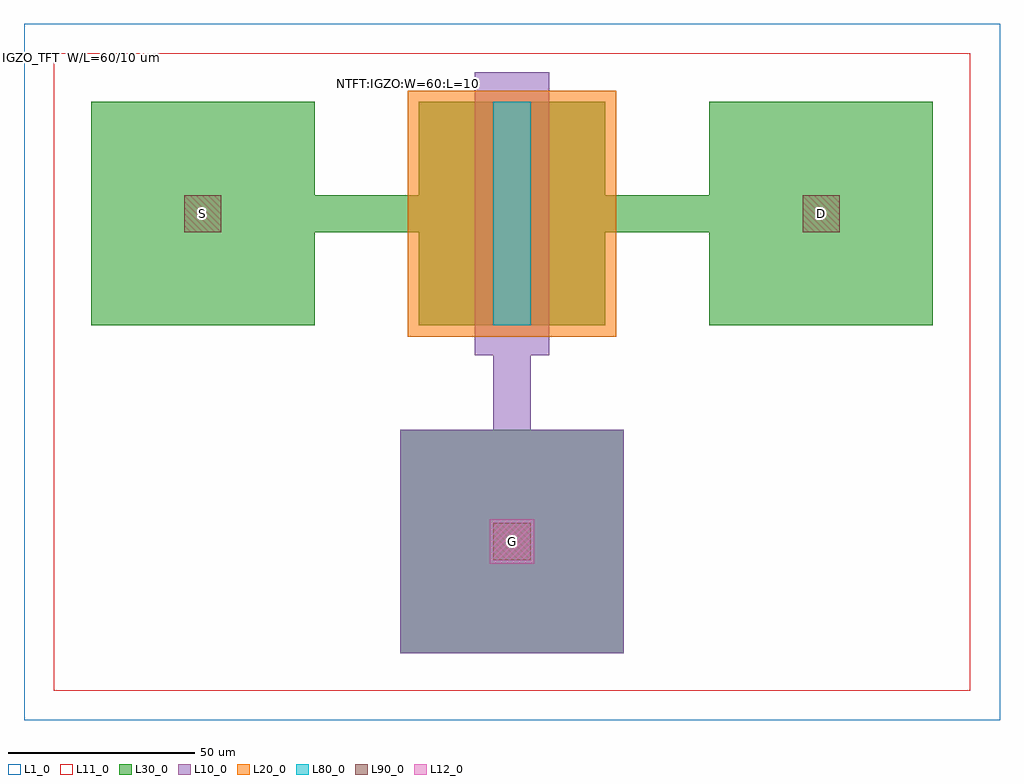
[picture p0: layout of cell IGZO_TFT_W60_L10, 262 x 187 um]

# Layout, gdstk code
import gdstk
lib = gdstk.Library(unit=1e-6, precision=1e-09)
def R(c, l, rs):  # rectangles x0, y0, x1, y1
    for r in rs: c.add(gdstk.rectangle(r[:2], r[2:], *l))
L1_0 = (1, 0)
L10_0 = (10, 0)
L11_0 = (11, 0)
L12_0 = (12, 0)
L20_0 = (20, 0)
L30_0 = (30, 0)
L80_0 = (80, 0)
L90_0 = (90, 0)

igzo_tft_w60_l10 = lib.new_cell('IGZO_TFT_W60_L10')
R(igzo_tft_w60_l10, L1_0, [(-131,-136,131,51)])
R(igzo_tft_w60_l10, L10_0, [(-30,-118,30,-58), (-5,-58,5,-38), (-10,-38,10,38)])
R(igzo_tft_w60_l10, L11_0, [(-123,-128,123,43)])
R(igzo_tft_w60_l10, L12_0, [(-6,-94,6,-82)])
R(igzo_tft_w60_l10, L20_0, [(-28,-33,28,33)])
R(igzo_tft_w60_l10, L30_0, [(-30,-118,30,-58), (-113,-30,-53,30), (-25,-30,-5,30), (5,-30,25,30), (53,-30,113,30), (-53,-5,-5,5), (5,-5,53,5)])
R(igzo_tft_w60_l10, L80_0, [(-5,-30,5,30)])
R(igzo_tft_w60_l10, L90_0, [(-5,-93,5,-83), (-88,-5,-78,5), (78,-5,88,5)])
igzo_tft_w60_l10.add(gdstk.Label('S', (-83,0), layer=90, texttype=0))
igzo_tft_w60_l10.add(gdstk.Label('D', (83,0), layer=90, texttype=0))
igzo_tft_w60_l10.add(gdstk.Label('G', (0,-88), layer=90, texttype=0))
igzo_tft_w60_l10.add(gdstk.Label('IGZO_TFT  W/L=60/10 um', (-123,42), layer=91, texttype=0))
igzo_tft_w60_l10.add(gdstk.Label('NTFT:IGZO:W=60:L=10', (-28,35), layer=92, texttype=0))

lib.write_gds('IGZO_TFT_W60_L10.gds')
